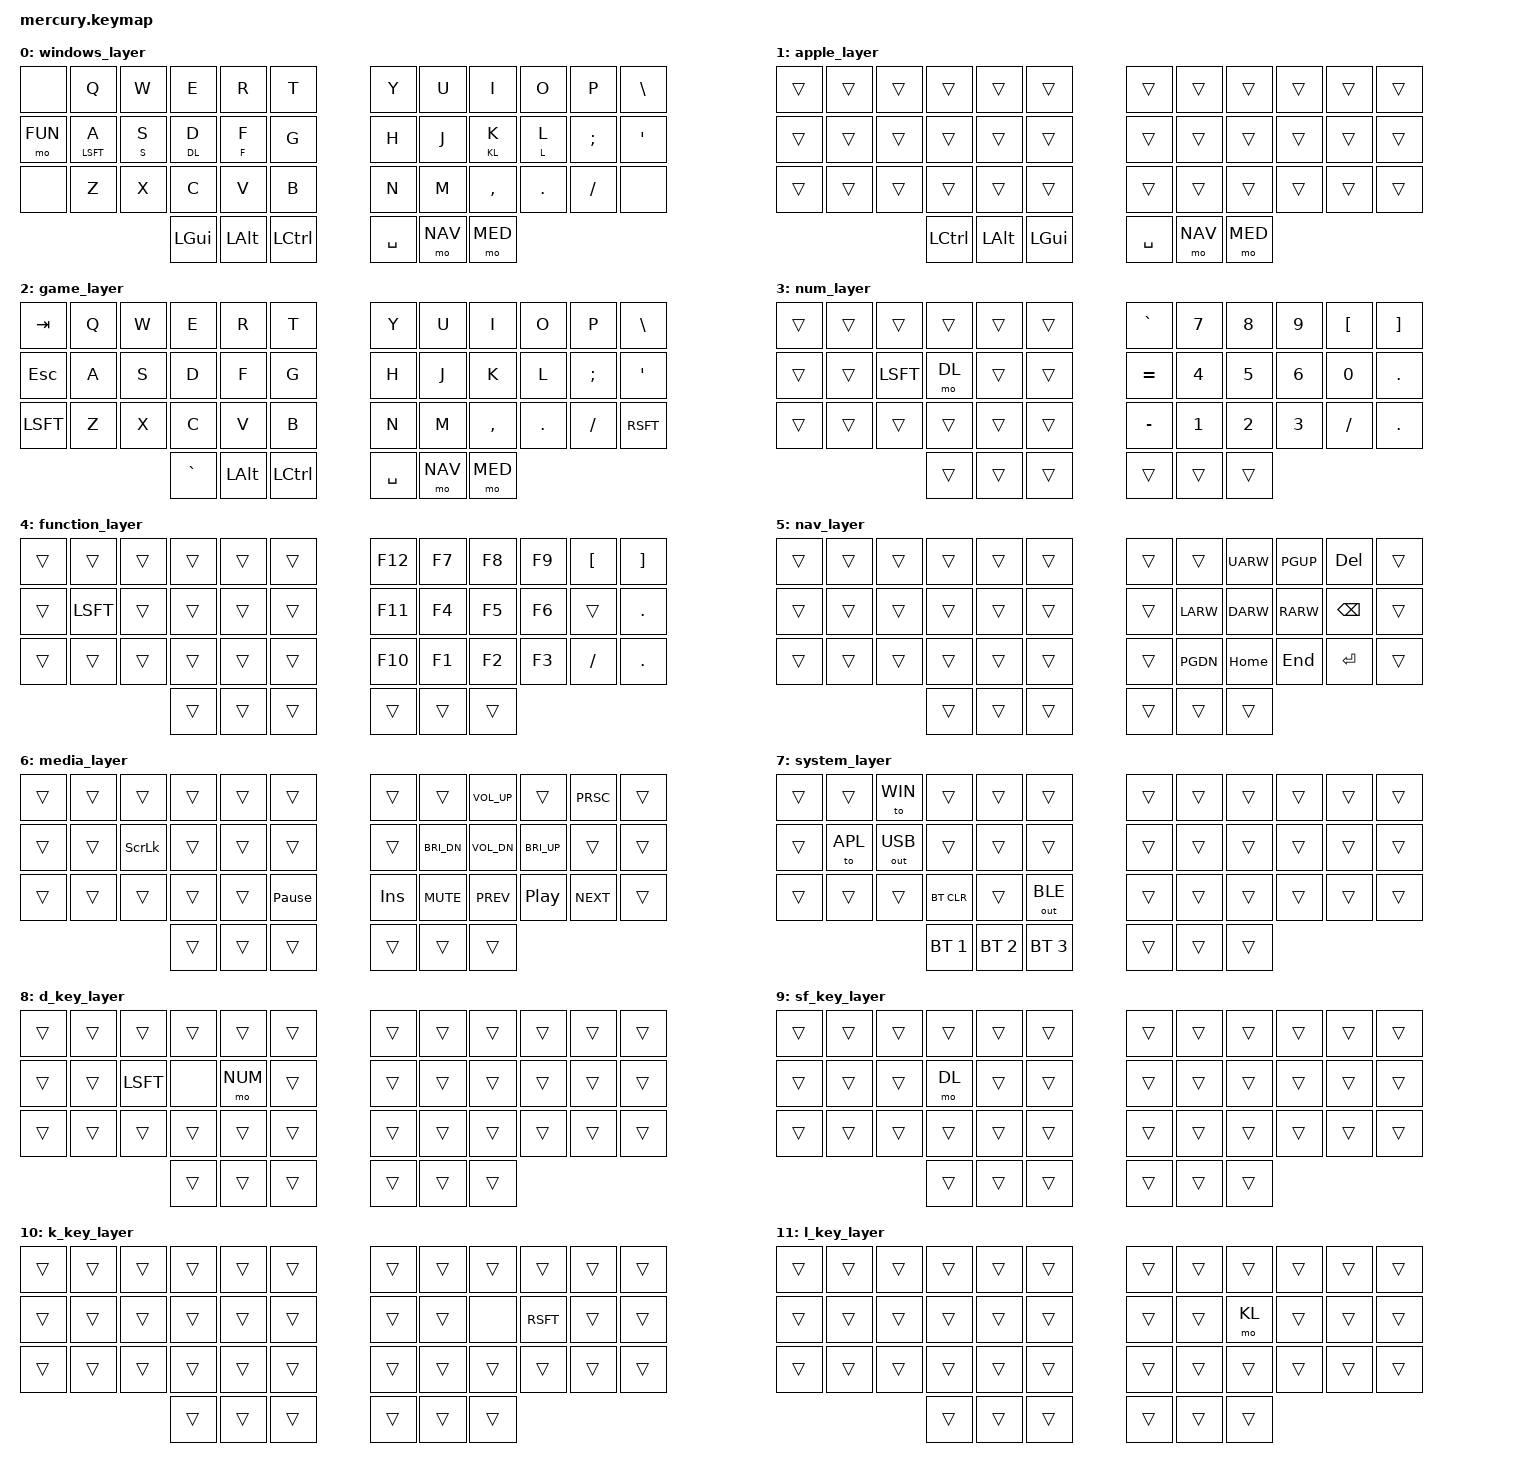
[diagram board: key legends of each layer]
#include <behaviors.dtsi>
#include <dt-bindings/zmk/bt.h>
#include <dt-bindings/zmk/keys.h>
#include <dt-bindings/zmk/outputs.h>

#define WIN 0
#define APL 1
#define GAM 2
#define NUM 3
#define FUN 4
#define NAV 5
#define MED 6
#define SYS 7
#define DL  8
#define SFL 9
#define KL  10
#define LL  11

// Words like "sounds" can sometimes come out as "soun" because the final "ds" gets interpreted as a combo.
// Reducing timeout helps prevent this. However, reducing timeout too much makes it difficult to trigger
// the combo when desired. A timeout of 50 ms to 75 ms seems to strike a good balance for most typists.
#define RH_COMBO_TIMEOUT 50
#define LH_COMBO_TIMEOUT 50

// Single finger combos are like "rg" or "hj", where the combined keys are normally typed using
// the same finger. As a result, such sequences are typically typed quite slowly. A very long timeout
// can be used for to be very timing-tolerant, while also not risking accidentally triggering the combo.
#define SINGLE_FINGER_COMBO_TIMEOUT 200

/ {
    behaviors {
        pht: pos_hold_tap {
            compatible = "zmk,behavior-hold-tap";
            label = "POS_HOLD_TAP";
            #binding-cells = <2>;
            flavor = "tap-unless-interrupted";
            tapping-term-ms = <LH_COMBO_TIMEOUT>;
            bindings = <&kp>, <&kp>;
            hold-trigger-key-positions = <12 13>;
        };
    };

    macros {
        mcs: macro_s {
            label = "MACRO_S";
            compatible = "zmk,behavior-macro";
            #binding-cells = <0>;
            wait-ms = <0>;
            bindings
                = <&macro_press &mo SFL &kp LSFT>
                , <&macro_pause_for_release>
                , <&macro_release &mo SFL &kp LSFT>
                ;
        };

        mcf: macro_f {
            label = "MACRO_F";
            compatible = "zmk,behavior-macro";
            #binding-cells = <0>;
            wait-ms = <0>;
            bindings
                = <&macro_press &mo SFL &mo NUM>
                , <&macro_pause_for_release>
                , <&macro_release &mo SFL &mo NUM>
                ;
        };

        mcl: macro_l {
            label = "MACRO_L";
            compatible = "zmk,behavior-macro";
            #binding-cells = <0>;
            wait-ms = <0>;
            bindings
                = <&macro_press &mo KL &kp RSFT>
                , <&macro_pause_for_release>
                , <&macro_release &mo KL &kp RSFT>
                ;
        };
    };

    behaviors {
        smt: s_macro_tap {
            compatible = "zmk,behavior-hold-tap";
            label = "S_MACRO_TAP";
            #binding-cells = <2>;
            flavor = "tap-unless-interrupted";
            tapping-term-ms = <LH_COMBO_TIMEOUT>;
            bindings = <&mcs>, <&kp>;
            hold-trigger-key-positions = <15 16 36 37 38 40 41>;
        };

        dlt: d_layer_tap {
            compatible = "zmk,behavior-hold-tap";
            label = "D_LAYER_TAP";
            #binding-cells = <2>;
            flavor = "tap-unless-interrupted";
            tapping-term-ms = <LH_COMBO_TIMEOUT>;
            bindings = <&mo>, <&kp>;
            hold-trigger-key-positions = <14 16 36 37 38 40 41>;
        };

        fmt: f_macro_tap {
            compatible = "zmk,behavior-hold-tap";
            label = "F_MACRO_TAP";
            #binding-cells = <2>;
            flavor = "tap-unless-interrupted";
            tapping-term-ms = <LH_COMBO_TIMEOUT>;
            bindings = <&mcf>, <&kp>;
            hold-trigger-key-positions = <14 15 36 37 38 40 41>;
        };

        klt: k_layer_tap {
            compatible = "zmk,behavior-hold-tap";
            label = "K_LAYER_TAP";
            #binding-cells = <2>;
            flavor = "tap-unless-interrupted";
            tapping-term-ms = <RH_COMBO_TIMEOUT>;
            bindings = <&mo>, <&kp>;
            hold-trigger-key-positions = <21 36 37 38 40 41>;
        };
        
        lmt: l_macro_tap {
            compatible = "zmk,behavior-hold-tap";
            label = "L_MACRO_TAP";
            #binding-cells = <2>;
            flavor = "tap-unless-interrupted";
            tapping-term-ms = <RH_COMBO_TIMEOUT>;
            bindings = <&mcl>, <&kp>;
            hold-trigger-key-positions = <20 36 37 38 40 41>;
        };
    };

    sl {
        release-after-ms = <20000>; // 20 seconds
    };

    combos {
        compatible = "zmk,combos";
        // Mode switching combos:
        combo_sys {
            timeout-ms = <LH_COMBO_TIMEOUT>;
            key-positions = <1 2 3>;
            bindings = <&sl SYS>;
        };
        combo_standard {
            timeout-ms = <LH_COMBO_TIMEOUT>;
            key-positions = <3 4 5>;
            bindings = <&to WIN>;
        };
        combo_game {
            timeout-ms = <LH_COMBO_TIMEOUT>;
            key-positions = <2 3 4>;
            bindings = <&to GAM>;
        };

        // Slow combos:
        // Because these combos use only keys controlled by a single index finger,
        // it is very unlikely that a standard touch-typist will accidentally trigger
        // during normal typing. We can use a very long timeout for these.
        combo_tab {
            timeout-ms = <SINGLE_FINGER_COMBO_TIMEOUT>;
            key-positions = <4 17>;
            bindings = <&kp TAB>;
        };
        combo_esc {
            timeout-ms = <SINGLE_FINGER_COMBO_TIMEOUT>;
        // 16,17 is a great location for ESC: convenient and safe. However, it is just affected
        // by the hold-tap => combo mis-fire bug: https://github.com/zmkfirmware/zmk/issues/1395
        // Until that is resolved, use positions 4,5
            key-positions = <16 17>;
            bindings = <&kp ESC>;
        };
        combo_quote {
            timeout-ms = <SINGLE_FINGER_COMBO_TIMEOUT>;
            key-positions = <18 19>;
            bindings = <&kp QUOT>;
        };
        combo_caps {
            timeout-ms = <SINGLE_FINGER_COMBO_TIMEOUT>;
            key-positions = <30 31>;
            bindings = <&kp CAPS>;
        };
        combo_menu {
            timeout-ms = <SINGLE_FINGER_COMBO_TIMEOUT>;
            key-positions = <7 18>;
            bindings = <&kp K_CMENU>;
        };
    };

    keymap {
        compatible = "zmk,keymap";

        windows_layer {
            bindings = <
&none    &kp Q        &kp W     &kp E      &kp R     &kp T     /**/  &kp Y    &kp U    &kp I      &kp O     &kp P     &kp BSLH
&mo FUN  &pht LSFT A  &smt S S  &dlt DL D  &fmt F F  &kp G     /**/  &kp H    &kp J    &klt KL K  &lmt L L  &kp SCLN  &kp QUOT
&none    &kp Z        &kp X     &kp C      &kp V     &kp B     /**/  &kp N    &kp M    &kp CMMA   &kp DOT   &kp FSLH  &none
                                &kp LGUI   &kp LALT  &kp LCTL  /**/  &kp SPC  &mo NAV  &mo MED
            >;
        };
        
        apple_layer {
            bindings = <
&trans  &trans  &trans   &trans    &trans    &trans   /**/  &trans   &trans   &trans   &trans  &trans  &trans
&trans  &trans  &trans   &trans    &trans    &trans   /**/  &trans   &trans   &trans   &trans  &trans  &trans
&trans  &trans  &trans   &trans    &trans    &trans   /**/  &trans   &trans   &trans   &trans  &trans  &trans
                        &kp LCTL  &kp LALT  &kp LGUI  /**/  &kp SPC  &mo NAV  &mo MED
            >;
        };

        game_layer {
            bindings = <
&kp TAB   &kp Q  &kp W  &kp E      &kp R     &kp T     /**/  &kp Y    &kp U    &kp I     &kp O    &kp P     &kp BSLH
&kp ESC   &kp A  &kp S  &kp D      &kp F     &kp G     /**/  &kp H    &kp J    &kp K     &kp L    &kp SCLN  &kp QUOT
&kp LSFT  &kp Z  &kp X  &kp C      &kp V     &kp B     /**/  &kp N    &kp M    &kp CMMA  &kp DOT  &kp FSLH  &kp RSFT
                        &kp GRAV   &kp LALT  &kp LCTL  /**/  &kp SPC  &mo NAV  &mo MED
            >;
        };

        num_layer {
            bindings = <
&trans  &trans  &trans    &trans  &trans  &trans  /**/  &kp GRAV   &kp N7  &kp N8  &kp N9  &kp LBKT  &kp RBKT
&trans  &trans  &kp LSFT  &mo DL  &trans  &trans  /**/  &kp EQL    &kp N4  &kp N5  &kp N6  &kp N0    &kp DOT
&trans  &trans  &trans    &trans  &trans  &trans  /**/  &kp MINUS  &kp N1  &kp N2  &kp N3  &kp FSLH  &kp DOT
                          &trans  &trans  &trans  /**/  &trans     &trans  &trans
            >;
        };

        function_layer {
            bindings = <
&trans  &trans    &trans  &trans  &trans  &trans  /**/  &kp F12  &kp F7  &kp F8  &kp F9  &kp LBKT  &kp RBKT
&trans  &kp LSFT  &trans  &trans  &trans  &trans  /**/  &kp F11  &kp F4  &kp F5  &kp F6  &trans    &kp DOT
&trans  &trans    &trans  &trans  &trans  &trans  /**/  &kp F10  &kp F1  &kp F2  &kp F3  &kp FSLH  &kp DOT
                          &trans  &trans  &trans  /**/  &trans   &trans  &trans
            >;
        };

        nav_layer {
            bindings = <
&trans  &trans  &trans  &trans  &trans  &trans  /**/  &trans  &trans    &kp UARW  &kp PGUP  &kp DEL   &trans
&trans  &trans  &trans  &trans  &trans  &trans  /**/  &trans  &kp LARW  &kp DARW  &kp RARW  &kp BKSP  &trans
&trans  &trans  &trans  &trans  &trans  &trans  /**/  &trans  &kp PGDN  &kp HOME  &kp END   &kp RET   &trans
                        &trans  &trans  &trans  /**/  &trans  &trans    &trans
            >;
        };

        media_layer {
            bindings = <
&trans  &trans  &trans    &trans  &trans  &trans           /**/  &trans   &trans        &kp C_VOL_UP  &trans            &kp PRSC    &trans
&trans  &trans  &kp SLCK  &trans  &trans  &trans           /**/  &trans   &kp C_BRI_DN  &kp C_VOL_DN  &kp C_BRI_UP      &trans      &trans
&trans  &trans  &trans    &trans  &trans  &kp PAUSE_BREAK  /**/  &kp INS  &kp C_MUTE    &kp C_PREV    &kp C_PLAY_PAUSE  &kp C_NEXT  &trans
                          &trans  &trans  &trans           /**/  &trans   &trans        &trans
            >;
        };

        system_layer {
            bindings = <
&trans  &trans   &to WIN       &trans        &trans        &trans        /**/  &trans  &trans  &trans  &trans  &trans  &trans
&trans  &to APL  &out OUT_USB  &trans        &trans        &trans        /**/  &trans  &trans  &trans  &trans  &trans  &trans
&trans  &trans   &trans        &bt BT_CLR    &trans        &out OUT_BLE  /**/  &trans  &trans  &trans  &trans  &trans  &trans
                               &bt BT_SEL 1  &bt BT_SEL 2  &bt BT_SEL 3  /**/  &trans  &trans  &trans
            >;
        };

        d_key_layer {
            bindings = <
&trans  &trans  &trans    &trans    &trans   &trans  /**/  &trans  &trans  &trans  &trans    &trans  &trans
&trans  &trans  &kp LSFT  &none     &mo NUM  &trans  /**/  &trans  &trans  &trans  &trans    &trans  &trans
&trans  &trans  &trans    &trans    &trans   &trans  /**/  &trans  &trans  &trans  &trans    &trans  &trans
                          &trans    &trans   &trans  /**/  &trans  &trans  &trans
            >;
        };

        sf_key_layer {
            bindings = <
&trans  &trans  &trans    &trans    &trans   &trans  /**/  &trans  &trans  &trans  &trans    &trans  &trans
&trans  &trans  &trans    &mo DL    &trans   &trans  /**/  &trans  &trans  &trans  &trans    &trans  &trans
&trans  &trans  &trans    &trans    &trans   &trans  /**/  &trans  &trans  &trans  &trans    &trans  &trans
                          &trans    &trans   &trans  /**/  &trans  &trans  &trans
            >;
        };

        k_key_layer {
            bindings = <
&trans  &trans  &trans    &trans    &trans   &trans  /**/  &trans  &trans  &trans  &trans    &trans  &trans
&trans  &trans  &trans    &trans    &trans   &trans  /**/  &trans  &trans  &none   &kp RSFT  &trans  &trans
&trans  &trans  &trans    &trans    &trans   &trans  /**/  &trans  &trans  &trans  &trans    &trans  &trans
                          &trans    &trans   &trans  /**/  &trans  &trans  &trans
            >;
        };

        l_key_layer {
            bindings = <
&trans  &trans  &trans    &trans    &trans   &trans  /**/  &trans  &trans  &trans  &trans    &trans  &trans
&trans  &trans  &trans    &trans    &trans   &trans  /**/  &trans  &trans  &mo KL  &trans    &trans  &trans
&trans  &trans  &trans    &trans    &trans   &trans  /**/  &trans  &trans  &trans  &trans    &trans  &trans
                          &trans    &trans   &trans  /**/  &trans  &trans  &trans
            >;
        };
    };
};
